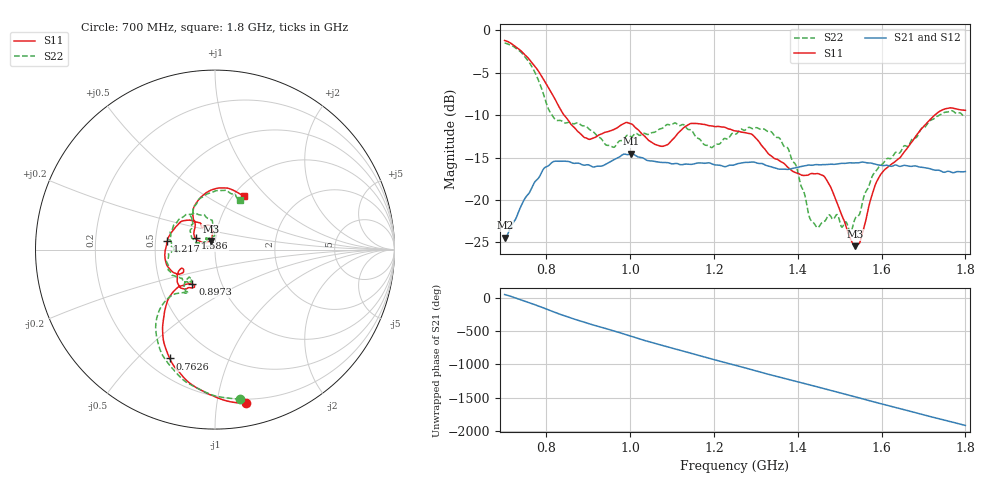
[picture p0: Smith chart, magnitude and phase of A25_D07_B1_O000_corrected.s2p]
! Created with skrf 1.9.0 (http://scikit-rf.org).
# Hz S RI R 50.0
!freq ReS11 ImS11 ReS21 ImS21 ReS12 ImS12 ReS22 ImS22
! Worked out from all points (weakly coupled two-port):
!   1601 points, 700 MHz to 1.8 GHz, reference 50 ohm
!   highest |S21| = -14.54 dB at 1.002 GHz (marker M1); lowest = -24.5 dB at 700.7 MHz (marker M2)
!   lowest |S11| = -25.4 dB at 1.536 GHz (marker M3), VSWR 1.11, Z = 47.4 + j4.54 ohm
!   |S11| at or under -10 dB: 842.2 MHz to 1.727 GHz (884.3 MHz wide, 68.9 % of centre)
!   |S22| runs from -23.8 to -1.5 dB; largest |S21 - S12| = 0.0035
!   S11 on the Smith chart (normalised r, x): 700 MHz: 0.17, -1.21; 762.6 MHz: 0.29, -0.63; 897.3 MHz: 0.73, -0.30; 1.217 GHz: 0.58, +0.06; 1.586 GHz: 0.80, +0.10; 1.8 GHz: 1.12, +0.75
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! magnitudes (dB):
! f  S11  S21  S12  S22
! 700 MHz  -1.2  -24.5  -24.2  -1.5
! 700.7 MHz  -1.2  -24.5  -24.1  -1.5
! 762.6 MHz  -3.7  -18.8  -18.8  -4.1
! 818.2 MHz  -7.9  -15.4  -15.6  -10.4
! 883.6 MHz  -12.3  -15.8  -15.7  -11.2
! 897.3 MHz  -12.7  -15.8  -15.9  -11.4
! 957.8 MHz  -11.7  -15.3  -15.3  -13.8
! 1.002 GHz  -11.0  -14.5  -14.7  -12.5
! 1.067 GHz  -13.6  -15.5  -15.5  -11.7
! 1.143 GHz  -11.0  -15.8  -15.8  -11.7
! 1.217 GHz  -11.4  -15.9  -16.0  -13.2
! 1.25 GHz  -11.9  -15.8  -15.8  -12.2
! 1.357 GHz  -15.4  -16.4  -16.3  -12.7
! 1.396 GHz  -16.8  -16.2  -16.2  -15.9
! 1.434 GHz  -16.9  -15.9  -15.9  -22.5
! 1.471 GHz  -17.9  -15.8  -15.8  -21.9
! 1.536 GHz  -25.4  -15.6  -15.6  -22.3
! 1.55 GHz  -24.6  -15.5  -15.6  -21.2
! 1.586 GHz  -18.1  -15.8  -15.8  -16.6
! 1.617 GHz  -16.0  -16.0  -15.9  -15.1
! 1.734 GHz  -9.7  -16.5  -16.5  -10.1
! 1.8 GHz  -9.4  -16.6  -16.6  -10.2
